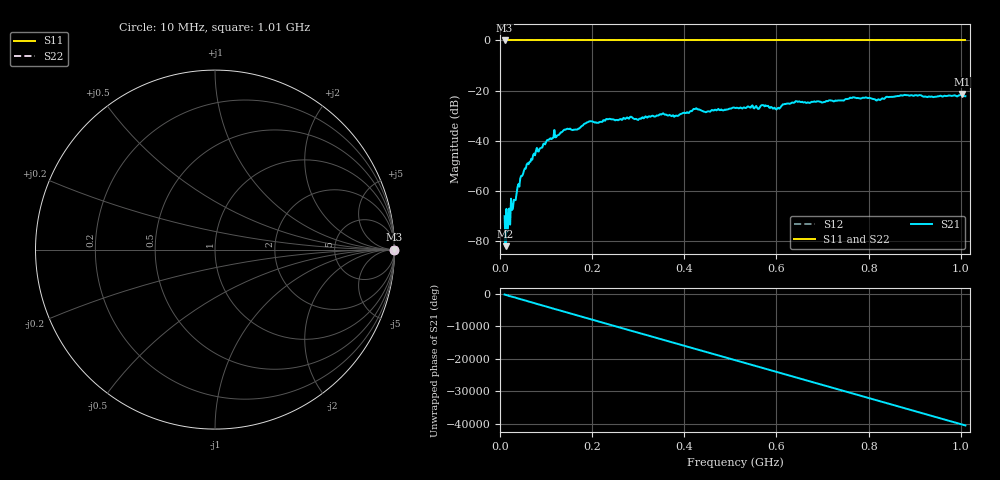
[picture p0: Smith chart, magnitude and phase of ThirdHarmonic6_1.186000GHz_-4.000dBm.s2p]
! 8/16/2025 12:08:54 PM
! C:\ANRITSUVNA\TEMP\TEMP.S2P
! CHANNEL.1
! TR.MEASUREMENT
! RAW.DATA
! RF.CORRECTION.OFF
! AVERAGING.OFF
! IF.BANDWIDTH: 5KHZ
! SWEEPTYPE:  FREQ.SWEEP(Linear)
! Reference Plane Port Info
! PORT:  PORT1  PORT2
! DISTANCE:  0  m  0  m
! TIME:  0  s  0  s
! PHASE.OFFSET:  0  deg.  0  deg.
! LOSS:  0  dB  0  dB
! REF.LOSS:  0  dB  0  dB
! REF.FREQ:  0  Hz  0  Hz
! Power Info
! POWER:  -20  dBm  -20  dBm
! EFF.POWER:  -20  dBm  -20  dBm
! SOURCE.ATTEN:  0  dB  0  dB
! TEST.ATTEN:  0  dB  0  dB
# GHZ S RI R 50.0
! FREQ.GHZ  S11RE  S11IM  S21RE  S21IM  S12RE  S12IM  S22RE  S22IM
!; PortSelection: Port_12
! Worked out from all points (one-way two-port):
!   501 points, 10 MHz to 1.01 GHz, reference 50 ohm
!   highest |S21| = -21.40 dB at 1.002 GHz (marker M1); lowest = -82.2 dB at 12 MHz (marker M2)
!   lowest |S11| = 0.0 dB at 10 MHz (marker M3)
!   |S11| at or under -10 dB: nowhere
!   |S22| runs from 0.0 to 0.0 dB; largest |S21 - S12| = 1.1
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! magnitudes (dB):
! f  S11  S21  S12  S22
! 10 MHz  0.0  -70.2  0.0  0.0
! 12 MHz  0.0  -82.2  0.0  0.0
! 14 MHz  0.0  -67.2  0.0  0.0
! 20 MHz  0.0  -67.1  0.0  0.0
! 48 MHz  0.0  -54.1  0.0  0.0
! 76 MHz  0.0  -45.9  0.0  0.0
! 114 MHz  0.0  -39.0  0.0  0.0
! 142 MHz  0.0  -35.7  0.0  0.0
! 178 MHz  0.0  -34.1  0.0  0.0
! 196 MHz  0.0  -32.2  0.0  0.0
! 344 MHz  0.0  -30.0  0.0  0.0
! 382 MHz  0.0  -30.0  0.0  0.0
! 424 MHz  0.0  -27.3  0.0  0.0
! 446 MHz  0.0  -28.6  0.0  0.0
! 510 MHz  0.0  -26.9  0.0  0.0
! 572 MHz  0.0  -25.8  0.0  0.0
! 602 MHz  0.0  -27.1  0.0  0.0
! 644 MHz  0.0  -24.3  0.0  0.0
! 678 MHz  0.0  -24.5  0.0  0.0
! 844 MHz  0.0  -22.7  0.0  0.0
! 1.002 GHz  0.0  -21.4  0.0  0.0
! 1.01 GHz  0.0  -22.3  0.0  0.0
